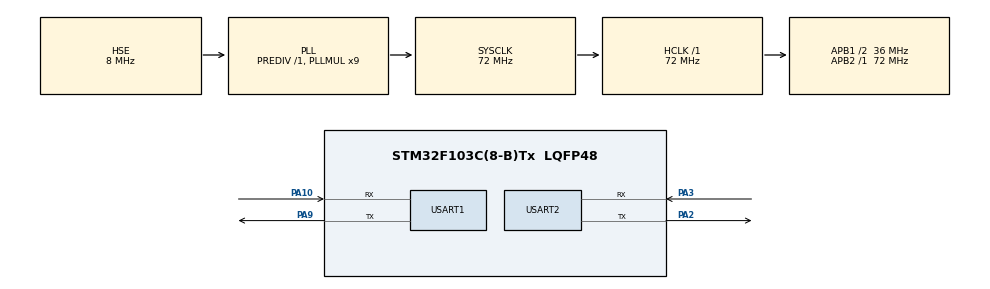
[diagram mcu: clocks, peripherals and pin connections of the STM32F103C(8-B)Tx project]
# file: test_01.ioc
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Mcu.Family=STM32F1
Mcu.Name=STM32F103C(8-B)Tx
Mcu.Package=LQFP48
NVIC.PriorityGroup=NVIC_PRIORITYGROUP_4
NVIC.USART1_IRQn=true\:0\:0\:false\:false\:true\:true\:true\:true
NVIC.USART2_IRQn=true\:0\:0\:false\:false\:true\:true\:true\:true
PA10.Mode=Asynchronous
PA10.Signal=USART1_RX
PA13.Mode=Serial_Wire
PA13.Signal=SYS_JTMS-SWDIO
PA14.Mode=Serial_Wire
PA14.Signal=SYS_JTCK-SWCLK
PA2.Mode=Asynchronous
PA2.Signal=USART2_TX
PA3.Mode=Asynchronous
PA3.Signal=USART2_RX
PA9.Mode=Asynchronous
PA9.Signal=USART1_TX
PD0-OSC_IN.Mode=HSE-External-Oscillator
PD0-OSC_IN.Signal=RCC_OSC_IN
PD1-OSC_OUT.Mode=HSE-External-Oscillator
PD1-OSC_OUT.Signal=RCC_OSC_OUT
ProjectManager.HeapSize=0x200
ProjectManager.StackSize=0x400
ProjectManager.TargetToolchain=Makefile
RCC.AHBFreq_Value=72000000
RCC.APB1CLKDivider=RCC_HCLK_DIV2
RCC.APB1Freq_Value=36000000
RCC.APB1TimFreq_Value=72000000
RCC.APB2Freq_Value=72000000
RCC.APB2TimFreq_Value=72000000
RCC.HCLKFreq_Value=72000000
RCC.PLLMUL=RCC_PLL_MUL9
RCC.PLLSourceVirtual=RCC_PLLSOURCE_HSE
RCC.SYSCLKFreq_VALUE=72000000
RCC.SYSCLKSource=RCC_SYSCLKSOURCE_PLLCLK
RCC.USBFreq_Value=72000000
USART1.VirtualMode=VM_ASYNC
USART2.VirtualMode=VM_ASYNC
board=custom

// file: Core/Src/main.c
/* USER CODE BEGIN Header */
/**
  ******************************************************************************
  * @file           : main.c
  * @brief          : Main program body
  ******************************************************************************
  * @attention
  *
  * Copyright (c) 2024 STMicroelectronics.
  * All rights reserved.
  *
  * This software is licensed under terms that can be found in the LICENSE file
  * in the root directory of this software component.
  * If no LICENSE file comes with this software, it is provided AS-IS.
  *
  ******************************************************************************
  */
/* USER CODE END Header */
#include "main.h"
#include "usart.h"
#include "gpio.h"

/* USER CODE BEGIN Includes */
#include "wtr_mavlink.h"
#include "stdio.h"
/* USER CODE END Includes */

/* USER CODE BEGIN PV */

mavlink_SPEED_t SPEEDStructToBeSend,SPEEDStructReceived;
/* USER CODE END PV */

void SystemClock_Config(void);

int main(void)
{

  /* MCU Configuration--------------------------------------------------------*/

  /* Reset of all peripherals, Initializes the Flash interface and the Systick. */
  HAL_Init();

  /* Configure the system clock */
  SystemClock_Config();

  /* Initialize all configured peripherals */
  MX_GPIO_Init();
  MX_USART1_UART_Init();
  MX_USART2_UART_Init();
  /* USER CODE BEGIN 2 */
  wtrMavlink_BindChannel(&huart1, MAVLINK_COMM_0);
  wtrMavlink_BindChannel(&huart2, MAVLINK_COMM_1);

    // 开启通道0的接收中断
    wtrMavlink_StartReceiveIT(MAVLINK_COMM_0);

  /* USER CODE END 2 */

  /* Infinite loop */
  while (1)
  {

    /* USER CODE BEGIN 3 */
     // 模拟变化量
        SPEEDStructToBeSend.vx += 1;
        SPEEDStructToBeSend.vy += 2;
        SPEEDStructToBeSend.vz += -2;

        mavlink_msg_SPEED_send_struct(MAVLINK_COMM_0, &SPEEDStructToBeSend);
        HAL_UART_Transmit(&huart1,&SPEEDStructReceived,10,0xff);
        HAL_Delay(100);
  }
  /* USER CODE END 3 */
}

void SystemClock_Config(void)
{
  RCC_OscInitTypeDef RCC_OscInitStruct = {0};
  RCC_ClkInitTypeDef RCC_ClkInitStruct = {0};

  /** Initializes the RCC Oscillators according to the specified parameters
  * in the RCC_OscInitTypeDef structure.
  */
  RCC_OscInitStruct.OscillatorType = RCC_OSCILLATORTYPE_HSE;
  RCC_OscInitStruct.HSEState = RCC_HSE_ON;
  RCC_OscInitStruct.HSEPredivValue = RCC_HSE_PREDIV_DIV1;
  RCC_OscInitStruct.HSIState = RCC_HSI_ON;
  RCC_OscInitStruct.PLL.PLLState = RCC_PLL_ON;
  RCC_OscInitStruct.PLL.PLLSource = RCC_PLLSOURCE_HSE;
  RCC_OscInitStruct.PLL.PLLMUL = RCC_PLL_MUL9;
  if (HAL_RCC_OscConfig(&RCC_OscInitStruct) != HAL_OK)
  {
    Error_Handler();
  }

  /** Initializes the CPU, AHB and APB buses clocks
  */
  RCC_ClkInitStruct.ClockType = RCC_CLOCKTYPE_HCLK|RCC_CLOCKTYPE_SYSCLK
                              |RCC_CLOCKTYPE_PCLK1|RCC_CLOCKTYPE_PCLK2;
  RCC_ClkInitStruct.SYSCLKSource = RCC_SYSCLKSOURCE_PLLCLK;
  RCC_ClkInitStruct.AHBCLKDivider = RCC_SYSCLK_DIV1;
  RCC_ClkInitStruct.APB1CLKDivider = RCC_HCLK_DIV2;
  RCC_ClkInitStruct.APB2CLKDivider = RCC_HCLK_DIV1;

  if (HAL_RCC_ClockConfig(&RCC_ClkInitStruct, FLASH_LATENCY_2) != HAL_OK)
  {
    Error_Handler();
  }
}

/* USER CODE BEGIN 4 */
void HAL_UART_RxCpltCallback(UART_HandleTypeDef *huart)
{
    // 接收通道0的消息
    wtrMavlink_UARTRxCpltCallback(huart, MAVLINK_COMM_0);
}

/**
 * @brief 接收到完整消息且校验通过后会调用这个函数。在这个函数里调用解码函数就可以向结构体写入收到的消息
 *
 * @param msg 接收到的消息
 * @return
 * @note 以上代码通过 msg->msgid 判断是哪个消息，还可以通过 msg->sysid 和 msg->compid 判断消息是从哪里来的
 */
void wtrMavlink_MsgRxCpltCallback(mavlink_message_t *msg)
{
    switch (msg->msgid) {
        case 1:
            // id = 1 的消息对应的解码函数(mavlink_msg_xxx_decode)
            mavlink_msg_SPEED_decode(msg, &SPEEDStructReceived);
            break;
        default:
            break;
    }
}

/* USER CODE END 4 */

void Error_Handler(void)
{
  __disable_irq();
  while (1)
  {
  }
}
